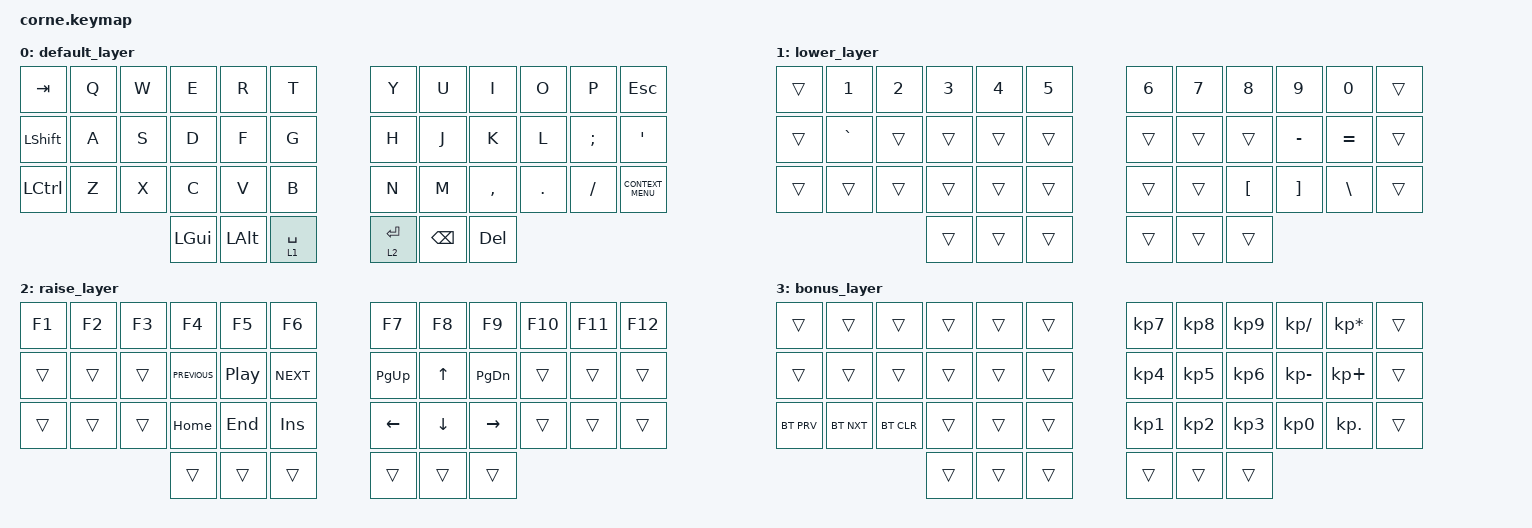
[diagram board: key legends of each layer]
/*
 * Copyright (c) 2020 The ZMK Contributors
 *
 * SPDX-License-Identifier: MIT
 */

#include <behaviors.dtsi>
#include <dt-bindings/zmk/bt.h>
#include <dt-bindings/zmk/keys.h>

/ {
    keymap {
        compatible = "zmk,keymap";

        default_layer {
            // -----------------------------------------------------------------------------------------
            // |  TAB |  Q  |  W  |  E  |  R  |  T  |   |  Y  |  U   |  I  |  O  |  P  | BKSP |
            // | CTRL |  A  |  S  |  D  |  F  |  G  |   |  H  |  J   |  K  |  L  |  ;  |  '   |
            // | SHFT |  Z  |  X  |  C  |  V  |  B  |   |  N  |  M   |  ,  |  .  |  /  | ESC  |
            //                    | GUI | LWR | SPC |   | ENT | RSE  | ALT |

            bindings = <
&kp TAB    &kp Q  &kp W  &kp E     &kp R     &kp T          &kp Y        &kp U          &kp I       &kp O    &kp P     &kp ESCAPE
&kp LSHFT  &kp A  &kp S  &kp D     &kp F     &kp G          &kp H        &kp J          &kp K       &kp L    &kp SEMI  &kp APOS
&kp LCTRL  &kp Z  &kp X  &kp C     &kp V     &kp B          &kp N        &kp M          &kp COMMA   &kp DOT  &kp FSLH  &kp K_CONTEXT_MENU
                         &kp LGUI  &kp LALT  &lt 1 SPACE    &lt 2 ENTER  &kp BACKSPACE  &kp DELETE
            >;
        };

        lower_layer {
            // -----------------------------------------------------------------------------------------
            // |  TAB |  1  |  2  |  3  |  4  |  5  |   |  6  |  7  |  8  |  9  |  0  | BKSP |
            // | BTCLR| BT1 | BT2 | BT3 | BT4 | BT5 |   | LFT | DWN |  UP | RGT |     |      |
            // | SHFT |     |     |     |     |     |   |     |     |     |     |     |      |
            //                    | GUI |     | SPC |   | ENT |     | ALT |

            bindings = <
&trans  &kp N1     &kp N2  &kp N3  &kp N4  &kp N5    &kp N6  &kp N7  &kp N8            &kp N9     &kp N0     &trans
&trans  &kp GRAVE  &trans  &trans  &trans  &trans    &trans  &trans  &trans            &kp MINUS  &kp EQUAL  &trans
&trans  &trans     &trans  &trans  &trans  &trans    &trans  &trans  &kp LEFT_BRACKET  &kp RBKT   &kp BSLH   &trans
                           &trans  &trans  &trans    &trans  &trans  &trans
            >;
        };

        raise_layer {
            // -----------------------------------------------------------------------------------------
            // |  TAB |  !  |  @  |  #  |  $  |  %  |   |  ^  |  &  |  *  |  (  |  )  | BKSP |
            // | CTRL |     |     |     |     |     |   |  -  |  =  |  [  |  ]  |  \  |  `   |
            // | SHFT |     |     |     |     |     |   |  _  |  +  |  {  |  }  | "|" |  ~   |
            //                    | GUI |     | SPC |   | ENT |     | ALT |

            bindings = <
&kp F1  &kp F2  &kp F3  &kp F4          &kp F5            &kp F6        &kp F7       &kp F8    &kp F9         &kp F10  &kp F11  &kp F12
&trans  &trans  &trans  &kp C_PREVIOUS  &kp C_PLAY_PAUSE  &kp C_NEXT    &kp PAGE_UP  &kp UP    &kp PAGE_DOWN  &trans   &trans   &trans
&trans  &trans  &trans  &kp HOME        &kp END           &kp INSERT    &kp LEFT     &kp DOWN  &kp RIGHT      &trans   &trans   &trans
                        &trans          &trans            &trans        &trans       &trans    &trans
            >;
        };

        bonus_layer {
            bindings = <
&trans      &trans      &trans      &trans  &trans  &trans    &kp KP_NUMBER_7  &kp KP_NUMBER_8  &kp KP_NUMBER_9  &kp KP_DIVIDE    &kp KP_MULTIPLY  &trans
&trans      &trans      &trans      &trans  &trans  &trans    &kp KP_NUMBER_4  &kp KP_NUMBER_5  &kp KP_NUMBER_6  &kp KP_SUBTRACT  &kp KP_PLUS      &trans
&bt BT_PRV  &bt BT_NXT  &bt BT_CLR  &trans  &trans  &trans    &kp KP_NUMBER_1  &kp KP_NUMBER_2  &kp KP_NUMBER_3  &kp KP_NUMBER_0  &kp KP_DOT       &trans
                                    &trans  &trans  &trans    &trans           &trans           &trans
            >;
        };
    };

    conditional_layers {
        compatible = "zmk,conditional-layers";

        bonus_layer_cond {
            if-layers = <1 2>;
            then-layer = <3>;
        };
    };
};
